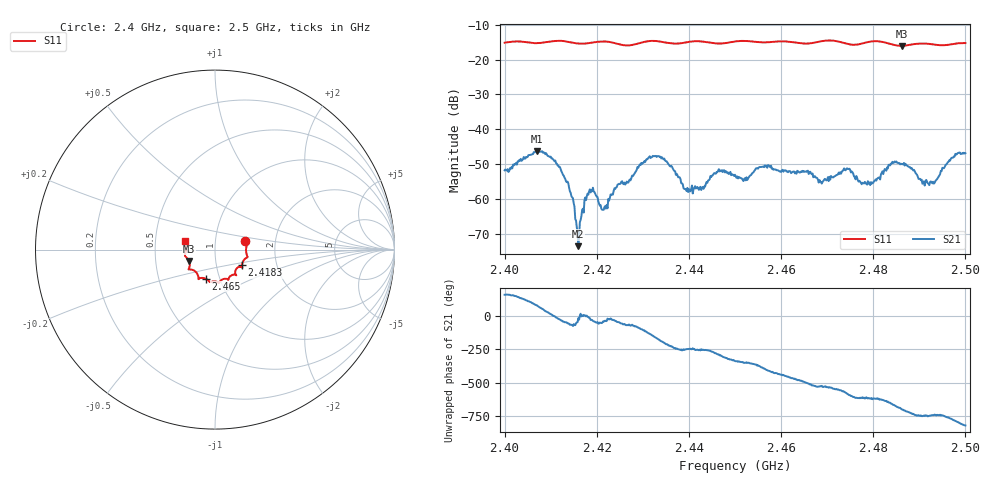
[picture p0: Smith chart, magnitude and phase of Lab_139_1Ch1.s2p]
# Hz S RI R 50
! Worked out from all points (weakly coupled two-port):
!   601 points, 2.4 GHz to 2.5 GHz, reference 50 ohm
!   highest |S21| = -46.28 dB at 2.407 GHz (marker M1); lowest = -73.6 dB at 2.416 GHz (marker M2)
!   lowest |S11| = -16.0 dB at 2.4862 GHz (marker M3), VSWR 1.37, Z = 37.1 - j4.83 ohm
!   |S11| at or under -10 dB: start of sweep to end of sweep
!   S12 and S22 are empty: the file has one direction only
!   S11 on the Smith chart (normalised r, x): 2.4 GHz: 1.40, +0.13; 2.4183 GHz: 1.33, -0.24; 2.465 GHz: 0.86, -0.29; 2.5 GHz: 0.71, +0.07
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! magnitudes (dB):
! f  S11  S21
! 2.4 GHz  -15.1  -51.8
! 2.407 GHz  -15.3  -46.3
! 2.4122 GHz  -14.6  -51.5
! 2.4143 GHz  -15.0  -58.2
! 2.416 GHz  -15.4  -73.6
! 2.4167 GHz  -15.4  -64.9
! 2.4183 GHz  -15.2  -57.8
! 2.4218 GHz  -14.8  -62.0
! 2.425 GHz  -15.6  -55.7
! 2.4333 GHz  -14.7  -47.7
! 2.4398 GHz  -14.9  -58.0
! 2.4467 GHz  -15.4  -52.1
! 2.45 GHz  -14.8  -53.1
! 2.465 GHz  -15.4  -52.0
! 2.4667 GHz  -15.2  -52.9
! 2.4687 GHz  -14.7  -55.2
! 2.4745 GHz  -15.5  -51.4
! 2.4795 GHz  -14.8  -55.2
! 2.4833 GHz  -15.3  -50.2
! 2.4862 GHz  -16.0  -50.0
! 2.4927 GHz  -15.6  -55.2
! 2.5 GHz  -15.2  -46.9
